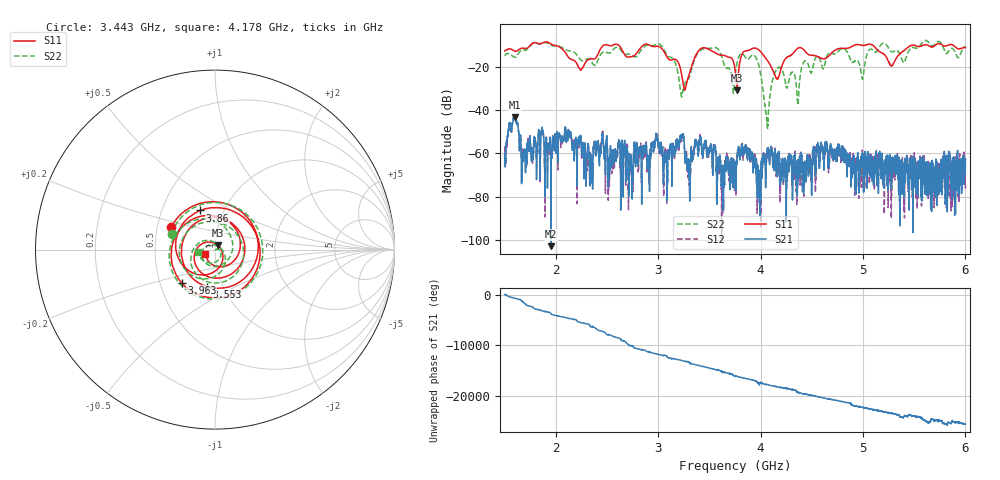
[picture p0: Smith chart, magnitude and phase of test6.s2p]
!Keysight Technologies N9923A: A.08.15
!Date: Monday, 19 February 2024 15:52:01
!Timezone: (GMT-05:00) Eastern Time (US & Canada)
!Model: N9923A
!Serial: MY52412730
!GPS Latitude:
!GPS Longitude:
!GPS TimeStamp: 0001-01-01 00:00:00Z
!GPS Seconds Since Last Read: 0
!CHECKSUM:0281788363
!Correction: S11(ON Q)S21(ON Q)S12(ON Q)S22(ON Q)
!S2P File: Measurements:S11,S21,S12,S22:
# Hz S DB R 50
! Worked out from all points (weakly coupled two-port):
!   4001 points, 1.5 GHz to 6 GHz, reference 50 ohm
!   highest |S21| = -43.20 dB at 1.598 GHz (marker M1); lowest = -102.8 dB at 1.952 GHz (marker M2)
!   lowest |S11| = -30.9 dB at 3.769 GHz (marker M3), VSWR 1.06, Z = 51.7 + j2.38 ohm
!   |S11| at or under -10 dB: 1.974 GHz to 2.47 GHz (495.4 MHz wide, 22.3 % of centre); 2.913 GHz to 4.919 GHz (2.006 GHz wide, 51.2 % of centre); 5.092 GHz to 5.591 GHz (498.8 MHz wide, 9.34 % of centre) (the widest 3 of 11)
!   |S22| runs from -48.5 to -7.9 dB; largest |S21 - S12| = 0.0011
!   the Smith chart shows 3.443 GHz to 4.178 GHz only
!   S11 on the Smith chart (normalised r, x): 3.443 GHz: 0.59, +0.16; 3.553 GHz: 0.84, -0.37; 3.86 GHz: 0.78, +0.36; 3.963 GHz: 0.65, -0.25; 4.178 GHz: 0.90, -0.04
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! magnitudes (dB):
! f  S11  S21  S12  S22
! 1.5 GHz  -12.7  -60.5  -59.2  -15.0
! 1.598 GHz  -12.9  -43.2  -43.2  -15.6
! 1.686 GHz  -11.5  -61.8  -62.2  -12.4
! 1.952 GHz  -9.5  -102.8  -69.2  -10.2
! 2.25 GHz  -21.3  -57.7  -59.3  -17.1
! 2.731 GHz  -15.4  -61.7  -62.6  -14.3
! 3.001 GHz  -10.6  -55.8  -55.6  -9.4
! 3.068 GHz  -14.0  -59.4  -59.1  -13.2
! 3.234 GHz  -24.8  -52.0  -51.8  -32.7
! 3.292 GHz  -25.1  -63.1  -65.1  -25.5
! 3.443 GHz  -11.2  -57.4  -58.0  -11.8
! 3.553 GHz  -13.5  -56.4  -57.1  -11.2
! 3.75 GHz  -21.1  -67.7  -68.0  -24.8
! 3.769 GHz  -30.9  -64.9  -62.8  -18.3
! 3.86 GHz  -12.7  -56.7  -57.9  -16.3
! 3.963 GHz  -11.7  -65.1  -75.1  -16.5
! 4.061 GHz  -16.7  -60.7  -61.3  -44.4
! 4.178 GHz  -24.5  -59.0  -63.2  -20.4
! 4.361 GHz  -11.6  -74.7  -69.8  -37.2
! 4.5 GHz  -14.7  -64.5  -67.5  -22.4
! 5.251 GHz  -17.7  -63.8  -66.6  -11.4
! 6 GHz  -11.2  -62.4  -76.7  -10.5
